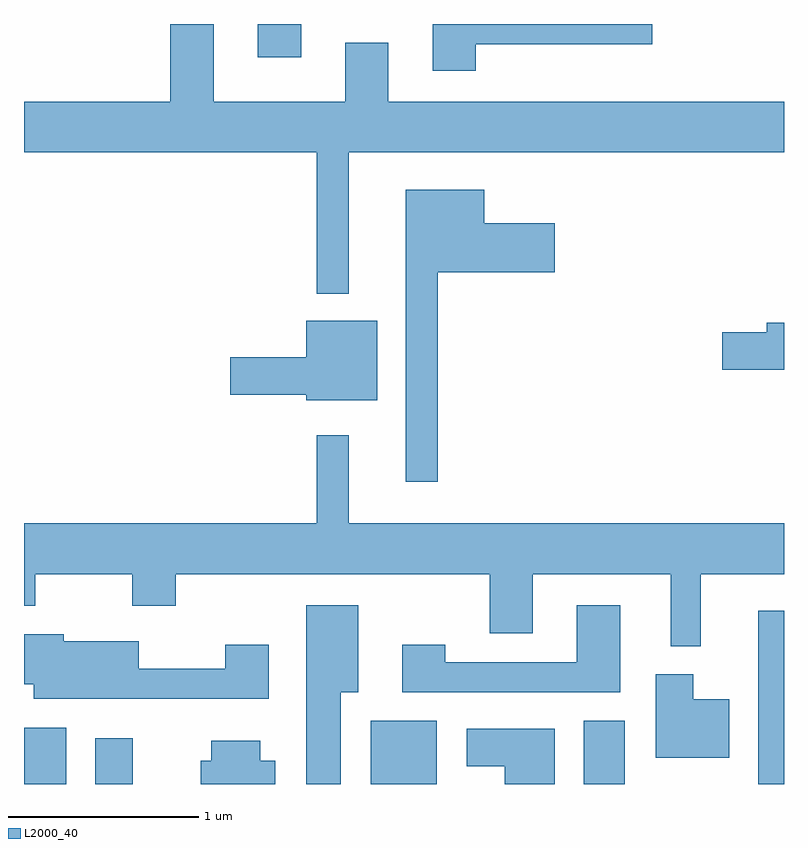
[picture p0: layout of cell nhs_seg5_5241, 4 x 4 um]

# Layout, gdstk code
import gdstk
lib = gdstk.Library(unit=1e-6, precision=1e-09)
def R(c, l, rs):  # rectangles x0, y0, x1, y1
    for r in rs: c.add(gdstk.rectangle(r[:2], r[2:], *l))
def P(c, l, *ps):  # polygons
    for p in ps: c.add(gdstk.Polygon(p, *l))
L2000_40 = (2000, 40)

nhs_seg5_5241 = lib.new_cell('nhs_seg5_5241')
R(nhs_seg5_5241, L2000_40, [(339.611,1520.072,339.834,1520.369), (339.986,1520.072,340.184,1520.314), (341.436,1520.072,341.784,1520.404), (342.556,1520.072,342.774,1520.404), (343.476,1520.072,343.611,1520.983), (340.841,1523.896,341.069,1524.072)])
P(nhs_seg5_5241, L2000_40, [(341.319,1523.396),(343.611,1523.396),(343.611,1523.664),(341.529,1523.664),(341.529,1523.974),(341.301,1523.974),(341.301,1523.664),(340.609,1523.664),(340.609,1524.072),(340.381,1524.072),(340.381,1523.664),(339.611,1523.664),(339.611,1523.396),(341.151,1523.396),(341.151,1522.653),(341.319,1522.653)],
  [(341.989,1523.966),(342.918,1523.966),(342.918,1524.072),(341.761,1524.072),(341.761,1523.826),(341.989,1523.826)],
  [(341.789,1522.766),(342.404,1522.766),(342.404,1523.024),(342.034,1523.024),(342.034,1523.199),(341.621,1523.199),(341.621,1521.663),(341.789,1521.663)],
  [(341.469,1522.509),(341.096,1522.509),(341.096,1522.319),(340.696,1522.319),(340.696,1522.121),(341.096,1522.121),(341.096,1522.091),(341.469,1522.091)],
  [(343.611,1522.499),(343.521,1522.499),(343.521,1522.449),(343.286,1522.449),(343.286,1522.251),(343.611,1522.251)],
  [(343.174,1521.176),(343.611,1521.176),(343.611,1521.444),(341.319,1521.444),(341.319,1521.908),(341.151,1521.908),(341.151,1521.444),(339.611,1521.444),(339.611,1521.011),(339.669,1521.011),(339.669,1521.176),(340.181,1521.176),(340.181,1521.011),(340.409,1521.011),(340.409,1521.176),(342.061,1521.176),(342.061,1520.866),(342.289,1520.866),(342.289,1521.176),(343.016,1521.176),(343.016,1520.798),(343.174,1520.798)],
  [(341.279,1520.556),(341.369,1520.556),(341.369,1521.014),(341.096,1521.014),(341.096,1520.072),(341.279,1520.072)],
  [(342.749,1521.014),(342.521,1521.014),(342.521,1520.714),(341.829,1520.714),(341.829,1520.804),(341.601,1520.804),(341.601,1520.556),(342.749,1520.556)],
  [(340.899,1520.804),(340.671,1520.804),(340.671,1520.679),(340.214,1520.679),(340.214,1520.824),(339.819,1520.824),(339.819,1520.859),(339.611,1520.859),(339.611,1520.596),(339.661,1520.596),(339.661,1520.521),(340.899,1520.521)],
  [(343.324,1520.519),(343.134,1520.519),(343.134,1520.649),(342.936,1520.649),(342.936,1520.211),(343.324,1520.211)],
  [(342.404,1520.364),(341.941,1520.364),(341.941,1520.166),(342.141,1520.166),(342.141,1520.072),(342.404,1520.072)],
  [(340.934,1520.194),(340.854,1520.194),(340.854,1520.299),(340.596,1520.299),(340.596,1520.194),(340.541,1520.194),(340.541,1520.072),(340.934,1520.072)])

lib.write_gds('nhs_seg5_5241.gds')
